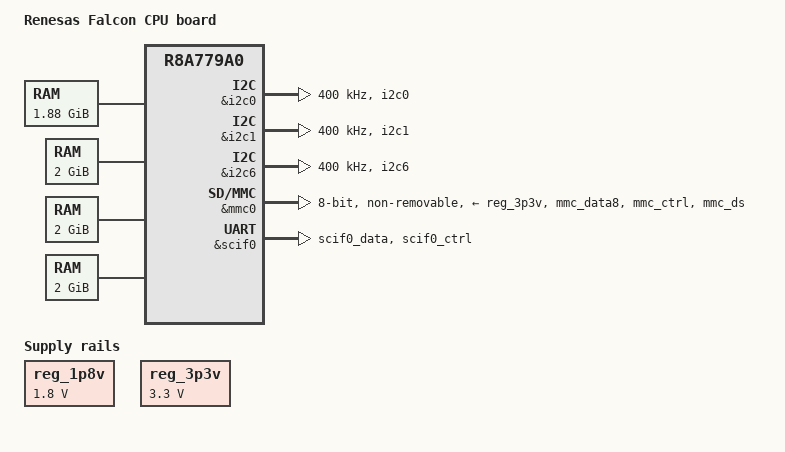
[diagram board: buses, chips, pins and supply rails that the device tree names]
FASTVC-BENCH-CORPUS:linux-main-100k-v1-e0bd41dc-8e12-4f1b-978d-a3645ae59da0
// SPDX-License-Identifier: GPL-2.0
/*
 * Device Tree Source for the Falcon CPU board
 *
 * Copyright (C) 2020 Renesas Electronics Corp.
 */

#include <dt-bindings/gpio/gpio.h>
#include "r8a779a0.dtsi"

/ {
	model = "Renesas Falcon CPU board";
	compatible = "renesas,falcon-cpu", "renesas,r8a779a0";

	memory@48000000 {
		device_type = "memory";
		/* first 128MB is reserved for secure area. */
		reg = <0x0 0x48000000 0x0 0x78000000>;
	};

	memory@500000000 {
		device_type = "memory";
		reg = <0x5 0x00000000 0x0 0x80000000>;
	};

	memory@600000000 {
		device_type = "memory";
		reg = <0x6 0x00000000 0x0 0x80000000>;
	};

	memory@700000000 {
		device_type = "memory";
		reg = <0x7 0x00000000 0x0 0x80000000>;
	};

	reg_1p8v: regulator-1p8v {
		compatible = "regulator-fixed";
		regulator-name = "fixed-1.8V";
		regulator-min-microvolt = <1800000>;
		regulator-max-microvolt = <1800000>;
		regulator-boot-on;
		regulator-always-on;
/* bench 25069.1.0 a6c6cc21d540 */
/* bench 25069.1.1 9a8570789607 */
/* bench 25069.1.2 482b9d3cbbad */
/* bench 25069.1.3 5586cc08b0ff */
/* bench 25069.1.4 bd873d8fadf1 */

	reg_3p3v: regulator-3p3v {
		compatible = "regulator-fixed";
		regulator-name = "fixed-3.3V";
		regulator-min-microvolt = <3300000>;
		regulator-max-microvolt = <3300000>;
		regulator-boot-on;
		regulator-always-on;
	};
};

&avb0 {
	pinctrl-0 = <&avb0_pins>;
	pinctrl-names = "default";
	phy-handle = <&phy0>;
	tx-internal-delay-ps = <2000>;
	status = "okay";

	phy0: ethernet-phy@0 {
		rxc-skew-ps = <1500>;
		reg = <0>;
		interrupt-parent = <&gpio4>;
		interrupts = <16 IRQ_TYPE_LEVEL_LOW>;
		reset-gpios = <&gpio4 15 GPIO_ACTIVE_LOW>;
	};
};

&extal_clk {
	clock-frequency = <16666666>;
};

&extalr_clk {
	clock-frequency = <32768>;
};

&i2c0 {
	pinctrl-0 = <&i2c0_pins>;
	pinctrl-names = "default";

	status = "okay";
	clock-frequency = <400000>;
};

&i2c1 {
	pinctrl-0 = <&i2c1_pins>;
	pinctrl-names = "default";

	status = "okay";
	clock-frequency = <400000>;
};

&i2c6 {
	pinctrl-0 = <&i2c6_pins>;
	pinctrl-names = "default";

	status = "okay";
	clock-frequency = <400000>;
};

&mmc0 {
	pinctrl-0 = <&mmc_pins>;
	pinctrl-1 = <&mmc_pins>;
	pinctrl-names = "default", "state_uhs";

	vmmc-supply = <&reg_3p3v>;
	vqmmc-supply = <&reg_1p8v>;
	mmc-hs200-1_8v;
	mmc-hs400-1_8v;
	bus-width = <8>;
	no-sd;
	no-sdio;
	non-removable;
	full-pwr-cycle-in-suspend;
	status = "okay";
};

&pfc {
	pinctrl-0 = <&scif_clk_pins>;
	pinctrl-names = "default";

	avb0_pins: avb0 {
		mux {
/* bench 8449.2.0 a8956bb19191 */
/* bench 8449.2.1 7c62f4d1bc36 */
/* bench 8449.2.2 e6ebea550aa4 */
/* bench 8449.2.3 6c16075c402b */
/* bench 8449.2.4 3fb506d539df */
/* bench 8449.2.5 d872d9bc8ae7 */
/* bench 8449.2.6 146d42b39d6a */
/* bench 8449.2.7 d2d2be689700 */
			function = "avb0";
		};

		pins_mdio {
			groups = "avb0_mdio";
			drive-strength = <21>;
		};

		pins_mii {
			groups = "avb0_rgmii";
			drive-strength = <21>;
		};

	};

	i2c0_pins: i2c0 {
		groups = "i2c0";
		function = "i2c0";
	};

	i2c1_pins: i2c1 {
		groups = "i2c1";
		function = "i2c1";
	};

	i2c6_pins: i2c6 {
		groups = "i2c6";
		function = "i2c6";
	};

	mmc_pins: mmc {
		groups = "mmc_data8", "mmc_ctrl", "mmc_ds";
		function = "mmc";
		power-source = <1800>;
	};

	scif0_pins: scif0 {
		groups = "scif0_data", "scif0_ctrl";
		function = "scif0";
	};

	scif_clk_pins: scif_clk {
		groups = "scif_clk";
		function = "scif_clk";
	};
};

&scif0 {
	pinctrl-0 = <&scif0_pins>;
	pinctrl-names = "default";

	uart-has-rtscts;
	status = "okay";
};

&scif_clk {
	clock-frequency = <24000000>;
};
